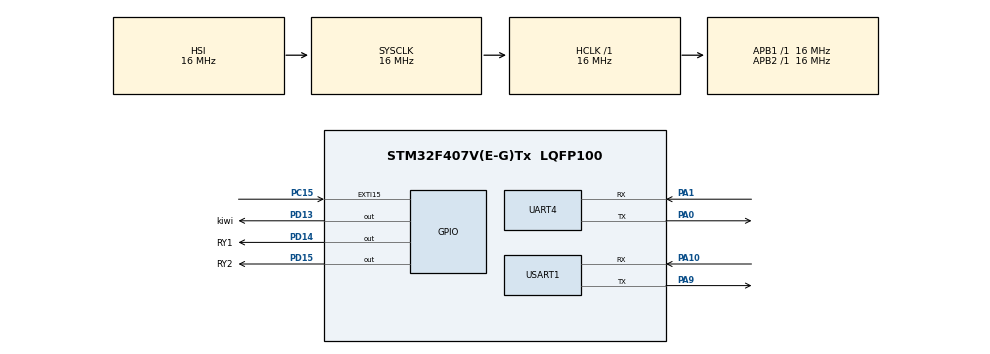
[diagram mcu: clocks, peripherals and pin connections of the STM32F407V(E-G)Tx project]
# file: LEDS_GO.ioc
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Mcu.Family=STM32F4
Mcu.Name=STM32F407V(E-G)Tx
Mcu.Package=LQFP100
NVIC.EXTI15_10_IRQn=true\:0\:0\:false\:false\:true\:true\:true
NVIC.PriorityGroup=NVIC_PRIORITYGROUP_4
NVIC.USART1_IRQn=true\:0\:0\:false\:false\:true\:true\:true
PA0-WKUP.Mode=Asynchronous
PA0-WKUP.Signal=UART4_TX
PA1.Mode=Asynchronous
PA1.Signal=UART4_RX
PA10.Mode=Asynchronous
PA10.Signal=USART1_RX
PA13.Mode=JTAG_5_pins
PA13.Signal=SYS_JTMS-SWDIO
PA14.Mode=JTAG_5_pins
PA14.Signal=SYS_JTCK-SWCLK
PA15.Mode=JTAG_5_pins
PA15.Signal=SYS_JTDI
PA9.Mode=Asynchronous
PA9.Signal=USART1_TX
PB3.Mode=JTAG_5_pins
PB3.Signal=SYS_JTDO-SWO
PB4.Mode=JTAG_5_pins
PB4.Signal=SYS_JTRST
PC15-OSC32_OUT.Signal=GPXTI15
PD13.GPIO_Label=kiwi
PD13.Signal=GPIO_Output
PD14.GPIO_Label=RY1
PD14.Signal=GPIO_Output
PD15.GPIO_Label=RY2
PD15.Signal=GPIO_Output
PH0-OSC_IN.Mode=HSE-External-Oscillator
PH0-OSC_IN.Signal=RCC_OSC_IN
PH1-OSC_OUT.Mode=HSE-External-Oscillator
PH1-OSC_OUT.Signal=RCC_OSC_OUT
ProjectManager.HeapSize=0x200
ProjectManager.StackSize=0x400
ProjectManager.TargetToolchain=SW4STM32
RCC.48MHZClocksFreq_Value=384000000
RCC.AHBFreq_Value=16000000
RCC.APB1Freq_Value=16000000
RCC.APB2Freq_Value=16000000
RCC.CortexFreq_Value=16000000
RCC.HSE_VALUE=25000000
RCC.HSI_VALUE=16000000
RCC.LSE_VALUE=32768
RCC.PLLM=2
RCC.SYSCLKFreq_VALUE=16000000
RCC.VCOOutputFreq_Value=1536000000
UART4.VirtualMode=Asynchronous
USART1.VirtualMode=VM_ASYNC
board=custom

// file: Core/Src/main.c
/* USER CODE BEGIN Header */
/**
 ******************************************************************************
 * @file           : main.c
 * @brief          : Main program body
 ******************************************************************************
 * @attention
 *
 * <h2><center>&copy; Copyright (c) 2019 STMicroelectronics.
 * All rights reserved.</center></h2>
 *
 * This software component is licensed by ST under BSD 3-Clause license,
 * the "License"; You may not use this file except in compliance with the
 * License. You may obtain a copy of the License at:
 *                        opensource.org/licenses/BSD-3-Clause
 *
 ******************************************************************************
 */
/* USER CODE END Header */

#include "main.h"
#include "usart.h"
#include "gpio.h"

/* USER CODE BEGIN Includes */
#include "uart_io.h"
/* USER CODE END Includes */

/* USER CODE BEGIN PV */
uint8_t inputMode = 0;
uint8_t fUART_received = 0;
/* USER CODE END PV */

void SystemClock_Config(void);

int main(void) {

	/* MCU Configuration--------------------------------------------------------*/

	/* Reset of all peripherals, Initializes the Flash interface and the Systick. */
	HAL_Init();

	/* Configure the system clock */
	SystemClock_Config();

	/* Initialize all configured peripherals */
	MX_GPIO_Init();
	MX_UART4_Init();
	MX_USART1_UART_Init();
	/* USER CODE BEGIN 2 */
	uint8_t pass[9] = "QWERTY";
	int8_t level = 0;
	int8_t max_level = sizeof("QWERTY") - 1;
	uint8_t character;
	uint8_t new_pass[9];
	uint8_t passwordMode = 0;
	/* USER CODE END 2 */

	/* Infinite loop */
	/* USER CODE BEGIN WHILE */
	while (1) {
		if (passwordMode == 0) {
			HAL_UART_Transmit(&huart1, "\r\nPress some keys: ",
					sizeof("\r\nPress some keys: ") - 1, 10);
			passwordMode = 1;
		}
		character = read_char_mode();
		if (character == 0x1) {
			if (inputMode) {
				HAL_UART_Transmit(&huart1, "\r\nEntering Interrupt mode",
						sizeof("\r\nEntering Interrupt mode") - 1, 10);
			} else {
				HAL_UART_Transmit(&huart1, "\r\nEntering NonInterrupt mode",
						sizeof("\r\nEntering NonInterrupt mode") - 1, 10);
			}
			if (passwordMode == 1) {
				HAL_UART_Transmit(&huart1, "\r\nPress some keys: ",
						sizeof("\r\nPress some keys: ") - 1, 10);
			}
			else {
				HAL_UART_Transmit(&huart1, "\r\nEnter new password: ",
						sizeof("\r\nEnter new password: ") - 1, 10);
			}
			for (int j = 0; j < level; j++) {
				HAL_UART_Transmit(&huart1, "*", 1, 10);
			}
		}
		if (character == '+' && passwordMode == 1) {
			HAL_UART_Transmit(&huart1, "+", 1, 10);
			HAL_UART_Transmit(&huart1, "\r\nEnter new password: ",
					sizeof("\r\nEnter new password: ") - 1, 10);
			passwordMode = 2;
			level = 0;
			continue;
		} else if (character == '\b' || character == '\x7F') {
			if (level > 0) {
				HAL_UART_Transmit(&huart1, "\b \b", 3, 10);
				level--;
			}
		} else {
			if (character >= 'a' && character <= 'z') {
				character -= 'a' - 'A';
			}
			if ((character >= '0' && character <= '9')
					|| (character >= 'A' && character <= 'Z')
					|| character == '\r') {
				if (character != '\r') {
					HAL_UART_Transmit(&huart1, "*", 1, 10);
				}
				// Entering security password
				if (passwordMode == 1) {
					if (character == '\r') {
						continue;
					}
					level = security(pass, level, max_level, character);
					if (level <= 0) {
						HAL_UART_Transmit(&huart1, "\r\n", 2, 10);
						passwordMode = 0;
					}
					if (level == 0) {
						HAL_UART_Transmit(&huart1, "SUCC\r\n", 6, 10);
					} else if (level < 0) {
						if (level == -2) {
							HAL_UART_Transmit(&huart1, "SUPRA ", 6, 10);
						}
						HAL_UART_Transmit(&huart1, "FAIL\r\n", 6, 10);
					}
				}
				// Entering new password
				else {
					if (character != '\r' && level < 8) {
						new_pass[level++] = character;
					}
					if (character == '\r' || level == 8) {
						if (level != 0) {
							HAL_UART_Transmit(&huart1, "\r\n", 2, 10);
							new_pass[level] = 0;
							HAL_UART_Transmit(&huart1,
									"Confirm password change by pressing 'y'\r\n",
									sizeof("Confirm password change by pressing 'y'\r\n")
											- 1, 10);
							if (read_char_mode() == 'y') {
								HAL_UART_Transmit(&huart1,
										"Password changed qwerty123\r\n",
										sizeof("Password changed qwerty123\r\n")
												- 1, 10);
								for (int j = 0; j < sizeof(pass); j++) {
									pass[j] = new_pass[j];
								}
								max_level = level;
							} else {
								HAL_UART_Transmit(&huart1,
										"Password change aborted\r\n",
										sizeof("Password change aborted\r\n")
												- 1, 10);
							}
							level = 0;
						} else {
							HAL_UART_Transmit(&huart1,
									"Password change aborted\r\n",
									sizeof("Password change aborted\r\n") - 1,
									10);
						}
						passwordMode = 0;
					}
				}
			}
		}
	}
	/* USER CODE END WHILE */

}

void SystemClock_Config(void) {
	RCC_OscInitTypeDef RCC_OscInitStruct = { 0 };
	RCC_ClkInitTypeDef RCC_ClkInitStruct = { 0 };

	/** Configure the main internal regulator output voltage
	 */
	__HAL_RCC_PWR_CLK_ENABLE()
	;
	__HAL_PWR_VOLTAGESCALING_CONFIG(PWR_REGULATOR_VOLTAGE_SCALE1);
	/** Initializes the CPU, AHB and APB busses clocks
	 */
	RCC_OscInitStruct.OscillatorType = RCC_OSCILLATORTYPE_HSI;
	RCC_OscInitStruct.HSIState = RCC_HSI_ON;
	RCC_OscInitStruct.HSICalibrationValue = RCC_HSICALIBRATION_DEFAULT;
	RCC_OscInitStruct.PLL.PLLState = RCC_PLL_NONE;
	if (HAL_RCC_OscConfig(&RCC_OscInitStruct) != HAL_OK) {
		Error_Handler();
	}
	/** Initializes the CPU, AHB and APB busses clocks
	 */
	RCC_ClkInitStruct.ClockType = RCC_CLOCKTYPE_HCLK | RCC_CLOCKTYPE_SYSCLK
			| RCC_CLOCKTYPE_PCLK1 | RCC_CLOCKTYPE_PCLK2;
	RCC_ClkInitStruct.SYSCLKSource = RCC_SYSCLKSOURCE_HSI;
	RCC_ClkInitStruct.AHBCLKDivider = RCC_SYSCLK_DIV1;
	RCC_ClkInitStruct.APB1CLKDivider = RCC_HCLK_DIV1;
	RCC_ClkInitStruct.APB2CLKDivider = RCC_HCLK_DIV1;

	if (HAL_RCC_ClockConfig(&RCC_ClkInitStruct, FLASH_LATENCY_0) != HAL_OK) {
		Error_Handler();
	}
}

void Error_Handler(void) {
}

/************************ (C) COPYRIGHT STMicroelectronics *****END OF FILE****/
